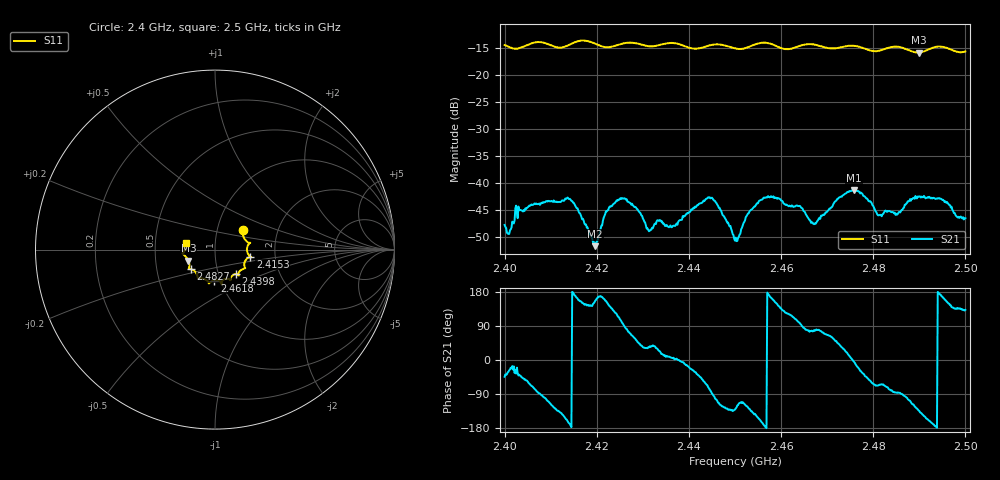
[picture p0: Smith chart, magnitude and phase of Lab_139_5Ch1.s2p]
# Hz S RI R
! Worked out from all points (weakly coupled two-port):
!   601 points, 2.4 GHz to 2.5 GHz, reference 50 ohm
!   highest |S21| = -41.40 dB at 2.4758 GHz (marker M1); lowest = -51.8 dB at 2.4197 GHz (marker M2)
!   lowest |S11| = -15.9 dB at 2.4898 GHz (marker M3), VSWR 1.38, Z = 36.9 - j4.62 ohm
!   |S11| at or under -10 dB: start of sweep to end of sweep
!   S12 and S22 are empty: the file has one direction only
!   S11 on the Smith chart (normalised r, x): 2.4 GHz: 1.33, +0.29; 2.4153 GHz: 1.48, -0.12; 2.4398 GHz: 1.21, -0.34; 2.4618 GHz: 0.94, -0.33; 2.4827 GHz: 0.75, -0.17; 2.5 GHz: 0.72, +0.06
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2.4e9  0.1543 0.1067  0.0029 -0.00282  0 0  0 0
2.401e9  0.1552 0.0911  0.00298 -0.00153  0 0  0 0
2.406333e9  0.194 0.0373  0.00169 -0.00606  0 0  0 0
2.415333e9  0.1962 -0.0385  -0.00603 0.00109  0 0  0 0
2.416667e9  0.2024 -0.0425  -0.0043 0.00213  0 0  0 0
2.419667e9  0.1883 -0.0438  -0.00236 0.00103  0 0  0 0
2.422333e9  0.1659 -0.068  -0.00474 0.00281  0 0  0 0
2.425167e9  0.1653 -0.0972  -0.0019 0.00692  0 0  0 0
2.431333e9  0.1402 -0.1173  0.00295 0.00195  0 0  0 0
2.433333e9  0.1307 -0.1335  0.00399 0.00198  0 0  0 0
2.436667e9  0.1326 -0.1444  0.00397 0.000419  0 0  0 0
2.439833e9  0.1156 -0.136  0.00498 -0.0015  0 0  0 0
2.444833e9  0.0845 -0.1679  0.000726 -0.00718  0 0  0 0
2.45e9  0.0654 -0.1623  -0.00189 -0.0022  0 0  0 0
2.455833e9  0.0379 -0.1935  -0.0067 -0.00181  0 0  0 0
2.461833e9  -0.00298 -0.1725  -0.00301 0.00532  0 0  0 0
2.466667e9  -0.0345 -0.1881  0.000938 0.00419  0 0  0 0
2.475833e9  -0.0946 -0.1586  0.00847 -0.000795  0 0  0 0
2.482667e9  -0.135 -0.1092  0.00192 -0.00515  0 0  0 0
2.483333e9  -0.14 -0.1087  0.0013 -0.00527  0 0  0 0
2.489833e9  -0.1478 -0.0611  -0.00505 -0.00542  0 0  0 0
2.5e9  -0.1593 0.0385  -0.00315 0.00346  0 0  0 0
